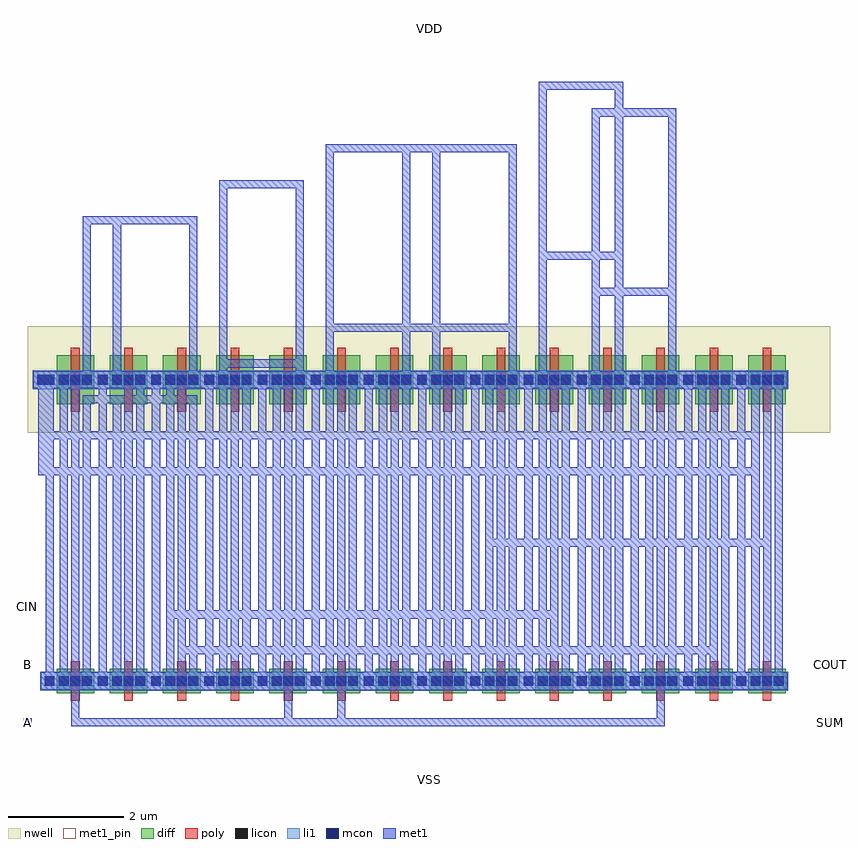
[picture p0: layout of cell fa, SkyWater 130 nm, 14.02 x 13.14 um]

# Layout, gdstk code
import gdstk
lib = gdstk.Library(unit=1e-6, precision=1e-09)
def R(c, l, rs):  # rectangles x0, y0, x1, y1
    for r in rs: c.add(gdstk.rectangle(r[:2], r[2:], *l))
def A(c, l, x, y, w, h, nx, ny, dx, dy):  # array of equal rectangles
    R(c, l, [(x+i*dx, y+j*dy, x+i*dx+w, y+j*dy+h) for i in range(nx) for j in range(ny)])
nwell = (64, 20)
diff = (65, 20)
poly = (66, 20)
licon = (66, 44)
li1 = (67, 20)
mcon = (67, 44)
met1_pin = (68, 16)
met1 = (68, 20)

c_fa = lib.new_cell('fa')
R(c_fa, nwell, [(-0.5,5.5,13.38,7.34)])
A(c_fa, diff, 0, 1, 0.65, 0.42, 14, 1, 0.92, 0)
A(c_fa, diff, 0, 6, 0.65, 0.84, 14, 1, 0.92, 0)
A(c_fa, poly, 0.25, 0.87, 0.15, 0.68, 14, 1, 0.92, 0)
A(c_fa, poly, 0.25, 5.87, 0.15, 1.1, 14, 1, 0.92, 0)
A(c_fa, licon, 0.04, 1.125, 0.17, 0.17, 3, 2, 0.2, 5.21)
A(c_fa, licon, 0.96, 1.125, 0.17, 0.17, 3, 2, 0.2, 5.21)
A(c_fa, licon, 1.88, 1.125, 0.17, 0.17, 3, 2, 0.2, 5.21)
A(c_fa, licon, 2.8, 1.125, 0.17, 0.17, 3, 2, 0.2, 5.21)
A(c_fa, licon, 3.72, 1.125, 0.17, 0.17, 3, 2, 0.2, 5.21)
A(c_fa, licon, 4.64, 1.125, 0.17, 0.17, 3, 2, 0.2, 5.21)
A(c_fa, licon, 5.56, 1.125, 0.17, 0.17, 3, 2, 0.2, 5.21)
A(c_fa, licon, 6.48, 1.125, 0.17, 0.17, 3, 2, 0.2, 5.21)
A(c_fa, licon, 7.4, 1.125, 0.17, 0.17, 3, 2, 0.2, 5.21)
A(c_fa, licon, 8.32, 1.125, 0.17, 0.17, 3, 2, 0.2, 5.21)
A(c_fa, licon, 9.24, 1.125, 0.17, 0.17, 3, 2, 0.2, 5.21)
A(c_fa, licon, 10.16, 1.125, 0.17, 0.17, 3, 2, 0.2, 5.21)
A(c_fa, licon, 11.08, 1.125, 0.17, 0.17, 3, 2, 0.2, 5.21)
A(c_fa, licon, 12, 1.125, 0.17, 0.17, 3, 2, 0.2, 5.21)
R(c_fa, licon, [(-0.205,1.125,-0.035,1.295), (0.715,1.125,0.885,1.295), (1.635,1.125,1.805,1.295), (2.555,1.125,2.725,1.295), (3.475,1.125,3.645,1.295), (4.395,1.125,4.565,1.295), (5.315,1.125,5.485,1.295), (6.235,1.125,6.405,1.295), (7.155,1.125,7.325,1.295), (8.075,1.125,8.245,1.295), (8.995,1.125,9.165,1.295), (9.915,1.125,10.085,1.295), (10.835,1.125,11.005,1.295), (11.755,1.125,11.925,1.295), (-0.335,6.335,-0.165,6.505), (-0.205,6.335,-0.035,6.505), (0.715,6.335,0.885,6.505), (1.635,6.335,1.805,6.505), (2.555,6.335,2.725,6.505), (3.475,6.335,3.645,6.505), (4.395,6.335,4.565,6.505), (5.315,6.335,5.485,6.505), (6.235,6.335,6.405,6.505), (7.155,6.335,7.325,6.505), (8.075,6.335,8.245,6.505), (8.995,6.335,9.165,6.505), (9.915,6.335,10.085,6.505), (10.835,6.335,11.005,6.505), (11.755,6.335,11.925,6.505)])
A(c_fa, li1, -0.04, 1.045, 0.33, 0.33, 3, 2, 0.2, 5.21)
A(c_fa, li1, 0.88, 1.045, 0.33, 0.33, 3, 2, 0.2, 5.21)
A(c_fa, li1, 1.8, 1.045, 0.33, 0.33, 3, 2, 0.2, 5.21)
A(c_fa, li1, 2.72, 1.045, 0.33, 0.33, 3, 2, 0.2, 5.21)
A(c_fa, li1, 3.64, 1.045, 0.33, 0.33, 3, 2, 0.2, 5.21)
A(c_fa, li1, 4.56, 1.045, 0.33, 0.33, 3, 2, 0.2, 5.21)
A(c_fa, li1, 5.48, 1.045, 0.33, 0.33, 3, 2, 0.2, 5.21)
A(c_fa, li1, 6.4, 1.045, 0.33, 0.33, 3, 2, 0.2, 5.21)
A(c_fa, li1, 7.32, 1.045, 0.33, 0.33, 3, 2, 0.2, 5.21)
A(c_fa, li1, 8.24, 1.045, 0.33, 0.33, 3, 2, 0.2, 5.21)
A(c_fa, li1, 9.16, 1.045, 0.33, 0.33, 3, 2, 0.2, 5.21)
A(c_fa, li1, 10.08, 1.045, 0.33, 0.33, 3, 2, 0.2, 5.21)
A(c_fa, li1, 11, 1.045, 0.33, 0.33, 3, 2, 0.2, 5.21)
A(c_fa, li1, 11.92, 1.045, 0.33, 0.33, 3, 2, 0.2, 5.21)
R(c_fa, li1, [(-0.285,1.045,0.045,1.375), (0.635,1.045,0.965,1.375), (1.555,1.045,1.885,1.375), (2.475,1.045,2.805,1.375), (3.395,1.045,3.725,1.375), (4.315,1.045,4.645,1.375), (5.235,1.045,5.565,1.375), (6.155,1.045,6.485,1.375), (7.075,1.045,7.405,1.375), (7.995,1.045,8.325,1.375), (8.915,1.045,9.245,1.375), (9.835,1.045,10.165,1.375), (10.755,1.045,11.085,1.375), (11.675,1.045,12.005,1.375), (-0.415,6.255,-0.085,6.585), (-0.285,6.255,0.045,6.585), (0.635,6.255,0.965,6.585), (1.555,6.255,1.885,6.585), (2.475,6.255,2.805,6.585), (3.395,6.255,3.725,6.585), (4.315,6.255,4.645,6.585), (5.235,6.255,5.565,6.585), (6.155,6.255,6.485,6.585), (7.075,6.255,7.405,6.585), (7.995,6.255,8.325,6.585), (8.915,6.255,9.245,6.585), (9.835,6.255,10.165,6.585), (10.755,6.255,11.085,6.585), (11.675,6.255,12.005,6.585)])
A(c_fa, mcon, 0.04, 1.125, 0.17, 0.17, 3, 2, 0.2, 5.21)
A(c_fa, mcon, 0.96, 1.125, 0.17, 0.17, 3, 2, 0.2, 5.21)
A(c_fa, mcon, 1.88, 1.125, 0.17, 0.17, 3, 2, 0.2, 5.21)
A(c_fa, mcon, 2.8, 1.125, 0.17, 0.17, 3, 2, 0.2, 5.21)
A(c_fa, mcon, 3.72, 1.125, 0.17, 0.17, 3, 2, 0.2, 5.21)
A(c_fa, mcon, 4.64, 1.125, 0.17, 0.17, 3, 2, 0.2, 5.21)
A(c_fa, mcon, 5.56, 1.125, 0.17, 0.17, 3, 2, 0.2, 5.21)
A(c_fa, mcon, 6.48, 1.125, 0.17, 0.17, 3, 2, 0.2, 5.21)
A(c_fa, mcon, 7.4, 1.125, 0.17, 0.17, 3, 2, 0.2, 5.21)
A(c_fa, mcon, 8.32, 1.125, 0.17, 0.17, 3, 2, 0.2, 5.21)
A(c_fa, mcon, 9.24, 1.125, 0.17, 0.17, 3, 2, 0.2, 5.21)
A(c_fa, mcon, 10.16, 1.125, 0.17, 0.17, 3, 2, 0.2, 5.21)
A(c_fa, mcon, 11.08, 1.125, 0.17, 0.17, 3, 2, 0.2, 5.21)
A(c_fa, mcon, 12, 1.125, 0.17, 0.17, 3, 2, 0.2, 5.21)
R(c_fa, mcon, [(-0.205,1.125,-0.035,1.295), (0.715,1.125,0.885,1.295), (1.635,1.125,1.805,1.295), (2.555,1.125,2.725,1.295), (3.475,1.125,3.645,1.295), (4.395,1.125,4.565,1.295), (5.315,1.125,5.485,1.295), (6.235,1.125,6.405,1.295), (7.155,1.125,7.325,1.295), (8.075,1.125,8.245,1.295), (8.995,1.125,9.165,1.295), (9.915,1.125,10.085,1.295), (10.835,1.125,11.005,1.295), (11.755,1.125,11.925,1.295), (-0.335,6.335,-0.165,6.505), (-0.205,6.335,-0.035,6.505), (0.715,6.335,0.885,6.505), (1.635,6.335,1.805,6.505), (2.555,6.335,2.725,6.505), (3.475,6.335,3.645,6.505), (4.395,6.335,4.565,6.505), (5.315,6.335,5.485,6.505), (6.235,6.335,6.405,6.505), (7.155,6.335,7.325,6.505), (8.075,6.335,8.245,6.505), (8.995,6.335,9.165,6.505), (9.915,6.335,10.085,6.505), (10.835,6.335,11.005,6.505), (11.755,6.335,11.925,6.505)])
A(c_fa, met1_pin, -0.57, 0.43, 0.14, 0.14, 1, 3, 0, 1)
R(c_fa, met1_pin, [(6.37,-0.57,6.51,-0.43), (13.31,0.43,13.45,0.57), (13.31,1.43,13.45,1.57), (6.37,12.43,6.51,12.57)])
A(c_fa, met1, -0.57, 0.43, 0.14, 0.14, 1, 3, 0, 1)
A(c_fa, met1, -0.025, 1.06, 0.3, 0.3, 3, 2, 0.2, 5.21)
A(c_fa, met1, 0.895, 1.06, 0.3, 0.3, 3, 2, 0.2, 5.21)
A(c_fa, met1, 1.815, 1.06, 0.3, 0.3, 3, 2, 0.2, 5.21)
A(c_fa, met1, 2.735, 1.06, 0.3, 0.3, 3, 2, 0.2, 5.21)
A(c_fa, met1, 3.655, 1.06, 0.3, 0.3, 3, 2, 0.2, 5.21)
A(c_fa, met1, 4.575, 1.06, 0.3, 0.3, 3, 2, 0.2, 5.21)
A(c_fa, met1, 5.495, 1.06, 0.3, 0.3, 3, 2, 0.2, 5.21)
A(c_fa, met1, 6.415, 1.06, 0.3, 0.3, 3, 2, 0.2, 5.21)
A(c_fa, met1, 7.335, 1.06, 0.3, 0.3, 3, 2, 0.2, 5.21)
A(c_fa, met1, 8.255, 1.06, 0.3, 0.3, 3, 2, 0.2, 5.21)
A(c_fa, met1, 9.175, 1.06, 0.3, 0.3, 3, 2, 0.2, 5.21)
A(c_fa, met1, 10.095, 1.06, 0.3, 0.3, 3, 2, 0.2, 5.21)
A(c_fa, met1, 11.015, 1.06, 0.3, 0.3, 3, 2, 0.2, 5.21)
A(c_fa, met1, 11.935, 1.06, 0.3, 0.3, 3, 2, 0.2, 5.21)
A(c_fa, met1, 1.65, 1.14, 0.14, 4.39, 3, 1, 0.92, 0)
A(c_fa, met1, 7.17, 1.14, 0.14, 4.39, 4, 1, 0.92, 0)
A(c_fa, met1, 1.65, 4.77, 0.14, 1.72, 3, 1, 0.92, 0)
A(c_fa, met1, 7.17, 4.77, 0.14, 1.72, 4, 1, 0.92, 0)
R(c_fa, met1, [(6.37,-0.57,6.51,-0.43), (0.255,0.43,10.515,0.57), (0.255,0.43,0.395,6.49), (0.255,0.43,0.395,1.28), (3.935,0.43,4.075,6.49), (3.935,0.43,4.075,1.28), (4.855,0.43,4.995,6.49), (4.855,0.43,4.995,1.28), (10.375,0.43,10.515,6.49), (10.375,0.43,10.515,1.28), (13.31,0.43,13.45,0.57), (1.175,1.05,9.595,1.19), (1.175,1.05,1.315,6.49), (1.175,1.05,1.315,1.28), (3.015,1.05,3.155,6.49), (3.015,1.05,3.155,1.28), (5.775,1.05,5.915,6.49), (5.775,1.05,5.915,1.28), (9.455,1.05,9.595,6.49), (9.455,1.05,9.595,1.28), (-0.27,1.06,0.03,1.36), (0.65,1.06,0.95,1.36), (1.57,1.06,1.87,1.36), (2.49,1.06,2.79,1.36), (3.41,1.06,3.71,1.36), (4.33,1.06,4.63,1.36), (5.25,1.06,5.55,1.36), (6.17,1.06,6.47,1.36), (7.09,1.06,7.39,1.36), (8.01,1.06,8.31,1.36), (8.93,1.06,9.23,1.36), (9.85,1.06,10.15,1.36), (10.77,1.06,11.07,1.36), (11.69,1.06,11.99,1.36), (-0.19,1.14,-0.05,5.53), (0.055,1.14,0.195,5.53), (0.455,1.14,0.595,6.15), (0.73,1.14,0.87,5.53), (0.975,1.14,1.115,6.15), (1.375,1.14,1.515,5.53), (1.895,1.14,2.035,2.43), (2.095,1.14,2.235,1.81), (2.295,1.14,2.435,6.15), (2.815,1.14,2.955,6.77), (3.215,1.14,3.355,1.81), (3.735,1.14,3.875,5.53), (4.135,1.14,4.275,6.77), (4.41,1.14,4.55,5.53), (4.655,1.14,4.795,7.39), (5.055,1.14,5.195,5.53), (5.33,1.14,5.47,5.53), (5.575,1.14,5.715,5.53), (5.975,1.14,6.115,7.39), (6.25,1.14,6.39,5.53), (6.495,1.14,6.635,7.39), (6.695,1.14,6.835,2.43), (6.895,1.14,7.035,5.53), (7.415,1.14,7.555,3.67), (7.615,1.14,7.755,1.81), (7.815,1.14,7.955,7.39), (8.335,1.14,8.475,8.63), (8.535,1.14,8.675,2.43), (8.735,1.14,8.875,3.67), (9.255,1.14,9.395,8.01), (9.655,1.14,9.795,8.63), (10.175,1.14,10.315,5.53), (10.575,1.14,10.715,8.01), (10.85,1.14,10.99,5.53), (11.095,1.14,11.235,3.05), (11.295,1.14,11.435,1.81), (11.495,1.14,11.635,5.53), (11.77,1.14,11.91,5.53), (12.015,1.14,12.155,5.53), (12.215,1.14,12.355,3.67), (12.415,1.14,12.555,4.29), (13.31,1.43,13.45,1.57), (2.095,1.67,11.435,1.81), (2.095,1.67,2.235,6.49), (3.215,1.67,3.355,6.49), (7.615,1.67,7.755,6.49), (11.295,1.67,11.435,6.49), (1.895,2.29,8.675,2.43), (1.895,2.29,2.035,6.49), (6.695,2.29,6.835,6.49), (8.535,2.29,8.675,6.49), (11.095,2.91,11.235,6.49), (11.095,2.91,11.235,3.05), (7.415,3.53,7.555,6.49), (7.415,3.53,12.355,3.67), (8.735,3.53,8.875,6.49), (12.215,3.53,12.355,6.49), (12.415,4.15,12.555,6.49), (12.415,4.15,12.555,4.29), (-0.32,4.77,12.155,4.91), (-0.32,4.77,-0.18,6.49), (-0.19,4.77,-0.05,6.49), (0.055,4.77,0.195,6.49), (0.73,4.77,0.87,6.49), (1.375,4.77,1.515,6.49), (3.735,4.77,3.875,6.49), (4.41,4.77,4.55,6.49), (5.055,4.77,5.195,6.49), (5.33,4.77,5.47,6.49), (5.575,4.77,5.715,6.49), (6.25,4.77,6.39,6.49), (6.895,4.77,7.035,6.49), (10.175,4.77,10.315,6.49), (10.85,4.77,10.99,6.49), (11.495,4.77,11.635,6.49), (11.77,4.77,11.91,6.49), (12.015,4.77,12.155,6.49), (-0.19,5.39,12.155,5.53), (0.455,6.01,2.435,6.15), (-0.4,6.27,-0.1,6.57), (-0.27,6.27,0.03,6.57), (0.65,6.27,0.95,6.57), (1.57,6.27,1.87,6.57), (2.49,6.27,2.79,6.57), (3.41,6.27,3.71,6.57), (4.33,6.27,4.63,6.57), (5.25,6.27,5.55,6.57), (6.17,6.27,6.47,6.57), (7.09,6.27,7.39,6.57), (8.01,6.27,8.31,6.57), (8.93,6.27,9.23,6.57), (9.85,6.27,10.15,6.57), (10.77,6.27,11.07,6.57), (11.69,6.27,11.99,6.57), (0.455,6.35,0.595,9.25), (0.975,6.35,1.115,9.25), (2.295,6.35,2.435,9.25), (2.815,6.35,2.955,9.87), (4.135,6.35,4.275,9.87), (4.655,6.35,4.795,10.49), (5.975,6.35,6.115,10.49), (6.495,6.35,6.635,10.49), (7.815,6.35,7.955,10.49), (8.335,6.35,8.475,11.57), (9.255,6.35,9.395,11.11), (9.655,6.35,9.795,11.57), (10.575,6.35,10.715,11.11), (2.815,6.63,4.275,6.77), (4.655,7.25,7.955,7.39), (9.255,7.87,10.715,8.01), (8.335,8.49,9.795,8.63), (0.455,9.11,2.435,9.25), (2.815,9.73,4.275,9.87), (4.655,10.35,7.955,10.49), (9.255,10.97,10.715,11.11), (8.335,11.43,9.795,11.57), (6.37,12.43,6.51,12.57)])
c_fa.add(gdstk.Label('A', (-0.5,0.5), layer=68, texttype=5))
c_fa.add(gdstk.Label('B', (-0.5,1.5), layer=68, texttype=5))
c_fa.add(gdstk.Label('CIN', (-0.5,2.5), layer=68, texttype=5))
c_fa.add(gdstk.Label('SUM', (13.38,0.5), layer=68, texttype=5))
c_fa.add(gdstk.Label('COUT', (13.38,1.5), layer=68, texttype=5))
c_fa.add(gdstk.Label('VDD', (6.44,12.5), layer=68, texttype=5))
c_fa.add(gdstk.Label('VSS', (6.44,-0.5), layer=68, texttype=5))

lib.write_gds('fa.gds')
